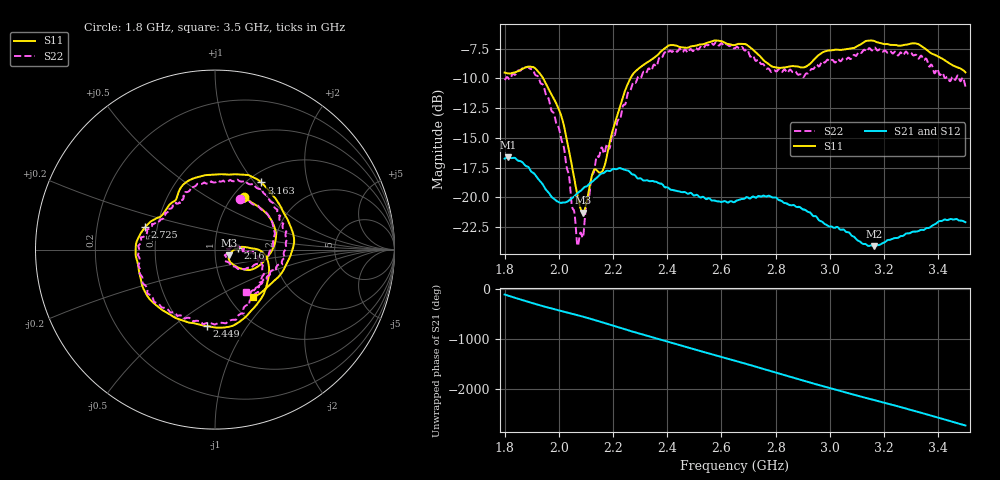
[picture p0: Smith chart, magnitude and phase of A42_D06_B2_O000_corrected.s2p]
! Created with skrf 1.9.0 (http://scikit-rf.org).
# Hz S RI R 50.0
!freq ReS11 ImS11 ReS21 ImS21 ReS12 ImS12 ReS22 ImS22
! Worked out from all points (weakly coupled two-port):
!   1601 points, 1.8 GHz to 3.5 GHz, reference 50 ohm
!   highest |S21| = -16.64 dB at 1.813 GHz (marker M1); lowest = -24.1 dB at 3.162 GHz (marker M2)
!   lowest |S11| = -21.3 dB at 2.09 GHz (marker M3), VSWR 1.19, Z = 58.6 - j3.72 ohm
!   |S11| at or under -10 dB: 1.943 GHz to 2.264 GHz (321.3 MHz wide, 15.3 % of centre)
!   |S22| runs from -24.1 to -6.9 dB; largest |S21 - S12| = 0.0024
!   S11 on the Smith chart (normalised r, x): 1.8 GHz: 1.12, +0.74; 2.16 GHz: 1.29, +0.02; 2.449 GHz: 0.64, -0.67; 2.725 GHz: 0.43, +0.13; 3.163 GHz: 1.15, +1.08; 3.5 GHz: 1.28, -0.76
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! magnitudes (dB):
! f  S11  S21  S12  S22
! 1.8 GHz  -9.5  -16.7  -16.7  -10.1
! 1.813 GHz  -9.6  -16.6  -16.6  -9.9
! 1.883 GHz  -9.0  -17.4  -17.4  -9.0
! 1.942 GHz  -10.0  -19.0  -19.0  -10.6
! 2.011 GHz  -13.3  -20.5  -20.4  -15.3
! 2.067 GHz  -19.6  -19.7  -19.7  -23.7
! 2.084 GHz  -21.2  -19.4  -19.3  -23.1
! 2.09 GHz  -21.3  -19.2  -19.3  -23.2
! 2.127 GHz  -17.8  -18.6  -18.6  -18.0
! 2.16 GHz  -17.8  -18.0  -17.9  -15.9
! 2.26 GHz  -10.2  -17.8  -17.8  -11.0
! 2.367 GHz  -8.0  -18.8  -18.7  -8.4
! 2.449 GHz  -7.4  -19.5  -19.5  -7.6
! 2.65 GHz  -7.2  -20.4  -20.3  -7.5
! 2.725 GHz  -7.8  -20.0  -20.0  -8.5
! 2.799 GHz  -9.1  -20.0  -20.0  -9.4
! 2.934 GHz  -8.6  -21.5  -21.4  -9.2
! 3.162 GHz  -6.8  -24.1  -24.1  -7.4
! 3.163 GHz  -6.8  -24.1  -24.1  -7.4
! 3.217 GHz  -7.1  -23.6  -23.5  -7.7
! 3.324 GHz  -7.1  -22.9  -22.8  -8.2
! 3.5 GHz  -9.5  -22.1  -22.1  -10.7
